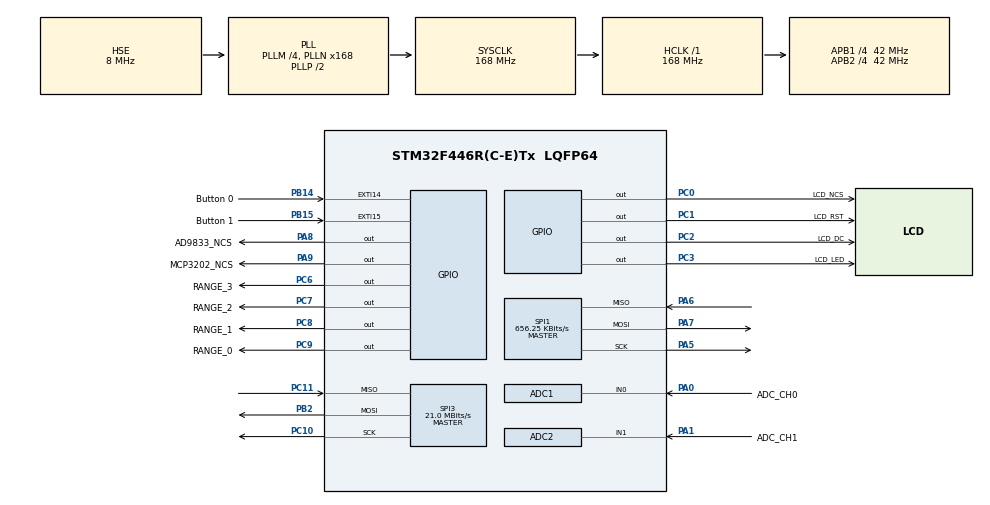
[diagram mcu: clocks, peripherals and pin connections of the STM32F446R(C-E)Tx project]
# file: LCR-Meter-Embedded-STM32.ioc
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ADC1.Channel-0\#ChannelRegularConversion=ADC_CHANNEL_0
ADC1.ContinuousConvMode=ENABLE
ADC1.DMAContinuousRequests=DISABLE
ADC1.EOCSelection=ADC_EOC_SEQ_CONV
ADC1.ExternalTrigConv=ADC_EXTERNALTRIGCONV_T3_TRGO
ADC1.NbrOfConversion=1
ADC1.NbrOfConversionFlag=1
ADC1.Rank-0\#ChannelRegularConversion=1
ADC1.Resolution=ADC_RESOLUTION_12B
ADC1.SamplingTime-0\#ChannelRegularConversion=ADC_SAMPLETIME_3CYCLES
ADC1.master=1
ADC2.Channel-0\#ChannelRegularConversion=ADC_CHANNEL_1
ADC2.ClockPrescaler=ADC_CLOCK_SYNC_PCLK_DIV2
ADC2.ContinuousConvMode=ENABLE
ADC2.DMAContinuousRequests=DISABLE
ADC2.EOCSelection=ADC_EOC_SEQ_CONV
ADC2.ExternalTrigConv=ADC_EXTERNALTRIGCONV_T3_TRGO
ADC2.NbrOfConversion=1
ADC2.NbrOfConversionFlag=1
ADC2.Rank-0\#ChannelRegularConversion=1
ADC2.Resolution=ADC_RESOLUTION_12B
ADC2.SamplingTime-0\#ChannelRegularConversion=ADC_SAMPLETIME_3CYCLES
Dma.ADC1.0.Direction=DMA_PERIPH_TO_MEMORY
Dma.ADC1.0.FIFOMode=DMA_FIFOMODE_DISABLE
Dma.ADC1.0.Instance=DMA2_Stream0
Dma.ADC1.0.MemDataAlignment=DMA_MDATAALIGN_HALFWORD
Dma.ADC1.0.MemInc=DMA_MINC_ENABLE
Dma.ADC1.0.Mode=DMA_NORMAL
Dma.ADC1.0.PeriphDataAlignment=DMA_PDATAALIGN_HALFWORD
Dma.ADC1.0.PeriphInc=DMA_PINC_DISABLE
Dma.ADC1.0.Priority=DMA_PRIORITY_VERY_HIGH
Dma.ADC2.1.Direction=DMA_PERIPH_TO_MEMORY
Dma.ADC2.1.FIFOMode=DMA_FIFOMODE_DISABLE
Dma.ADC2.1.Instance=DMA2_Stream2
Dma.ADC2.1.MemDataAlignment=DMA_MDATAALIGN_HALFWORD
Dma.ADC2.1.MemInc=DMA_MINC_ENABLE
Dma.ADC2.1.Mode=DMA_NORMAL
Dma.ADC2.1.PeriphDataAlignment=DMA_PDATAALIGN_HALFWORD
Dma.ADC2.1.PeriphInc=DMA_PINC_DISABLE
Dma.ADC2.1.Priority=DMA_PRIORITY_VERY_HIGH
Dma.Request0=ADC1
Dma.Request1=ADC2
Mcu.Family=STM32F4
Mcu.Name=STM32F446R(C-E)Tx
Mcu.Package=LQFP64
NVIC.ADC_IRQn=true\:15\:0\:true\:false\:true\:true\:true\:true
NVIC.DMA2_Stream0_IRQn=true\:0\:0\:false\:false\:true\:false\:true\:true
NVIC.DMA2_Stream2_IRQn=true\:0\:0\:false\:false\:true\:false\:true\:true
NVIC.EXTI15_10_IRQn=true\:0\:0\:false\:false\:true\:true\:true\:true
NVIC.PriorityGroup=NVIC_PRIORITYGROUP_4
NVIC.TIM3_IRQn=true\:0\:0\:false\:false\:true\:true\:true\:true
PA0-WKUP.GPIO_Label=ADC_CH0
PA0-WKUP.Signal=SharedAnalog_PA0
PA1.GPIO_Label=ADC_CH1
PA1.Signal=SharedAnalog_PA1
PA5.Mode=Full_Duplex_Master
PA5.Signal=SPI1_SCK
PA6.Mode=Full_Duplex_Master
PA6.Signal=SPI1_MISO
PA7.Mode=Full_Duplex_Master
PA7.Signal=SPI1_MOSI
PA8.GPIO_Label=AD9833_NCS
PA8.GPIO_ModeDefaultOutputPP=GPIO_MODE_OUTPUT_PP
PA8.GPIO_PuPd=GPIO_NOPULL
PA8.GPIO_Speed=GPIO_SPEED_FREQ_VERY_HIGH
PA8.PinState=GPIO_PIN_SET
PA8.Signal=GPIO_Output
PA9.GPIO_Label=MCP3202_NCS
PA9.GPIO_ModeDefaultOutputPP=GPIO_MODE_OUTPUT_PP
PA9.GPIO_PuPd=GPIO_NOPULL
PA9.GPIO_Speed=GPIO_SPEED_FREQ_VERY_HIGH
PA9.PinState=GPIO_PIN_SET
PA9.Signal=GPIO_Output
PB14.GPIO_Label=Button 0
PB14.GPIO_ModeDefaultEXTI=GPIO_MODE_IT_FALLING
PB14.Signal=GPXTI14
PB15.GPIO_Label=Button 1
PB15.GPIO_ModeDefaultEXTI=GPIO_MODE_IT_FALLING
PB15.Signal=GPXTI15
PB2.Mode=Full_Duplex_Master
PB2.Signal=SPI3_MOSI
PC0.GPIO_Label=LCD_NCS
PC0.GPIO_Speed=GPIO_SPEED_FREQ_VERY_HIGH
PC0.PinState=GPIO_PIN_SET
PC0.Signal=GPIO_Output
PC1.GPIO_Label=LCD_RST
PC1.GPIO_Speed=GPIO_SPEED_FREQ_VERY_HIGH
PC1.PinState=GPIO_PIN_SET
PC1.Signal=GPIO_Output
PC10.Mode=Full_Duplex_Master
PC10.Signal=SPI3_SCK
PC11.Mode=Full_Duplex_Master
PC11.Signal=SPI3_MISO
PC2.GPIO_Label=LCD_DC
PC2.GPIO_Speed=GPIO_SPEED_FREQ_VERY_HIGH
PC2.PinState=GPIO_PIN_SET
PC2.Signal=GPIO_Output
PC3.GPIO_Label=LCD_LED
PC3.PinState=GPIO_PIN_SET
PC3.Signal=GPIO_Output
PC6.GPIO_Label=RANGE_3
PC6.PinState=GPIO_PIN_RESET
PC6.Signal=GPIO_Output
PC7.GPIO_Label=RANGE_2
PC7.PinState=GPIO_PIN_SET
PC7.Signal=GPIO_Output
PC8.GPIO_Label=RANGE_1
PC8.PinState=GPIO_PIN_RESET
PC8.Signal=GPIO_Output
PC9.GPIO_Label=RANGE_0
PC9.PinState=GPIO_PIN_RESET
PC9.Signal=GPIO_Output
PH0-OSC_IN.Mode=HSE-External-Oscillator
PH0-OSC_IN.Signal=RCC_OSC_IN
PH1-OSC_OUT.Mode=HSE-External-Oscillator
PH1-OSC_OUT.Signal=RCC_OSC_OUT
ProjectManager.HeapSize=0x200
ProjectManager.StackSize=0x400
ProjectManager.TargetToolchain=STM32CubeIDE
RCC.AHBFreq_Value=168000000
RCC.APB1CLKDivider=RCC_HCLK_DIV4
RCC.APB1Freq_Value=42000000
RCC.APB1TimFreq_Value=84000000
RCC.APB2CLKDivider=RCC_HCLK_DIV4
RCC.APB2Freq_Value=42000000
RCC.APB2TimFreq_Value=84000000
RCC.CortexFreq_Value=168000000
RCC.HCLKFreq_Value=168000000
RCC.HSE_VALUE=8000000
RCC.PLLM=4
RCC.PLLN=168
RCC.PLLSourceVirtual=RCC_PLLSOURCE_HSE
RCC.SYSCLKFreq_VALUE=168000000
RCC.SYSCLKSource=RCC_SYSCLKSOURCE_PLLCLK
RCC.USBFreq_Value=168000000
RCC.VCOOutputFreq_Value=336000000
SH.SharedAnalog_PA0.0=GPIO_Analog
SH.SharedAnalog_PA0.1=ADC1_IN0,IN0
SH.SharedAnalog_PA1.0=GPIO_Analog
SH.SharedAnalog_PA1.1=ADC1_IN1
SH.SharedAnalog_PA1.2=ADC2_IN1,IN1
SPI1.BaudRatePrescaler=SPI_BAUDRATEPRESCALER_64
SPI1.CalculateBaudRate=656.25 KBits/s
SPI1.Direction=SPI_DIRECTION_2LINES
SPI1.Mode=SPI_MODE_MASTER
SPI1.VirtualType=VM_MASTER
SPI3.BaudRatePrescaler=SPI_BAUDRATEPRESCALER_2
SPI3.CalculateBaudRate=21.0 MBits/s
SPI3.Direction=SPI_DIRECTION_2LINES
SPI3.Mode=SPI_MODE_MASTER
SPI3.VirtualType=VM_MASTER
TIM2.AutoReloadPreload=TIM_AUTORELOAD_PRELOAD_ENABLE
TIM2.Prescaler=41
TIM3.Period=999
TIM3.Prescaler=0
TIM3.TIM_MasterOutputTrigger=TIM_TRGO_UPDATE
VP_TIM2_VS_ClockSourceINT.Mode=Internal
VP_TIM3_VS_ClockSourceINT.Mode=Internal
board=custom

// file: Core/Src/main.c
/* USER CODE BEGIN Header */
/**
  ******************************************************************************
  * @file           : main.c
  * @brief          : Main program body
  ******************************************************************************
  * @attention
  *
  * Copyright (c) 2024 STMicroelectronics.
  * All rights reserved.
  *
  * This software is licensed under terms that can be found in the LICENSE file
  * in the root directory of this software component.
  * If no LICENSE file comes with this software, it is provided AS-IS.
  *
  ******************************************************************************
  */
/* USER CODE END Header */
#include "main.h"

/* USER CODE BEGIN Includes */
#include "string.h"
#include <stdbool.h>
#include "AD9833_STM32.h"
#include "MCP3202_STM32.h"

#include "matrix_operations.h"

#include "ILI9341_STM32_Driver.h"
#include "ILI9341_GFX.h"

#include <math.h>
/* USER CODE END Includes */

ADC_HandleTypeDef hadc1;
ADC_HandleTypeDef hadc2;
DMA_HandleTypeDef hdma_adc1;
DMA_HandleTypeDef hdma_adc2;

SPI_HandleTypeDef hspi1;
SPI_HandleTypeDef hspi3;

TIM_HandleTypeDef htim2;
TIM_HandleTypeDef htim3;

void SystemClock_Config(void);
static void MX_GPIO_Init(void);
static void MX_DMA_Init(void);
static void MX_SPI1_Init(void);
static void MX_SPI3_Init(void);
static void MX_ADC1_Init(void);
static void MX_ADC2_Init(void);
static void MX_TIM2_Init(void);
static void MX_TIM3_Init(void);

/* USER CODE BEGIN 0 */

uint32_t frequency = 1000;
int FREQ_UPDATE_NEEDED = 1; // Flag to tell the system that it needs to update the test frequency.
// All the data must be floating point, as the nucleo board I'm using doesn't have enough memory for double.

#define MAX_POINTS 2000
uint16_t ch0_data[MAX_POINTS];
uint16_t ch1_data[MAX_POINTS];

bool CH0_DONE_SAMPLING = false;
bool CH1_DONE_SAMPLING = false;

float Get_Time_us(void) {
	float count = __HAL_TIM_GET_COUNTER(&htim2);
	float FRQ = 2e6;
	return count * 1e6 / FRQ; // Read timer
}

void wait_us(uint32_t w) {
  uint32_t s = Get_Time_us();
  while(Get_Time_us() - s < w);
}

void ADC_START() {
	HAL_TIM_Base_Stop(&htim3);// Make sure that the timer is stopped, so we don't start ADC conversions in the middle of processing

	HAL_ADC_Start_DMA(&hadc1, (uint32_t*)ch1_data, MAX_POINTS); // This is required for all ADC conversion types
	HAL_ADC_Start_DMA(&hadc2, (uint32_t*)ch0_data, MAX_POINTS);

	HAL_Delay(10); // Should be enough time for calibration?

	__HAL_TIM_SET_COUNTER(&htim2, 0);
	HAL_TIM_Base_Start(&htim3);

	CH0_DONE_SAMPLING = false;
	CH1_DONE_SAMPLING = false;
}

void convert_to_double(const uint16_t *input_array, double *output_array, size_t length) {
    const double scale_factor = 3.3 / 4095.0;
    for (int i = 0; i < length; i++) {
    	double o = input_array[i] * scale_factor;
        output_array[i] = o;
    }
}

int get_range() {
	// This function figures out what range is currently being used.
	// Returns the number corresponding to the range.
	// If there is a problem, it will return -1.
	int r0 = HAL_GPIO_ReadPin(GPIOC, RANGE_0_Pin); // 100 Ohms
	int r1 = HAL_GPIO_ReadPin(GPIOC, RANGE_1_Pin); // 1000 Ohms
	int r2 = HAL_GPIO_ReadPin(GPIOC, RANGE_2_Pin); // 10000 Ohms
	int r3 = HAL_GPIO_ReadPin(GPIOC, RANGE_3_Pin); // 100000 Ohms

	int n = (r0*1) + (r1*10) + (r2*100) + (r3*1000);
	if (n == 0) {
		return -1;
	}
	if (n == 1) {
		return 0;
	}
	if (n == 10) {
		return 1;
	}
	if (n == 100) {
		return 2;
	}
	if (n == 1000){
		return 3;
	}
	return -1;
}

int set_range(int range) {
	if (range < 0) {
		HAL_GPIO_WritePin(GPIOC, RANGE_0_Pin, 0); // 100 Ohms
		HAL_GPIO_WritePin(GPIOC, RANGE_1_Pin, 0); // 1000 Ohms
		HAL_GPIO_WritePin(GPIOC, RANGE_2_Pin, 0); // 10000 Ohms
		HAL_GPIO_WritePin(GPIOC, RANGE_3_Pin, 0); // 100000 Ohms

		return -1;
	}
	if (range > 3) {
		HAL_GPIO_WritePin(GPIOC, RANGE_0_Pin, 0); // 100 Ohms
		HAL_GPIO_WritePin(GPIOC, RANGE_1_Pin, 0); // 1000 Ohms
		HAL_GPIO_WritePin(GPIOC, RANGE_2_Pin, 0); // 10000 Ohms
		HAL_GPIO_WritePin(GPIOC, RANGE_3_Pin, 0); // 100000 Ohms

		return -1;
	}

	if (range == 0) {
		HAL_GPIO_WritePin(GPIOC, RANGE_1_Pin, 0); // 1000 Ohms
		HAL_GPIO_WritePin(GPIOC, RANGE_2_Pin, 0); // 10000 Ohms
		HAL_GPIO_WritePin(GPIOC, RANGE_3_Pin, 0); // 100000 Ohms

		HAL_GPIO_WritePin(GPIOC, RANGE_0_Pin, 1); // 100 Ohms
		HAL_Delay(100);
		return 1;
	} else if(range == 1) {
		HAL_GPIO_WritePin(GPIOC, RANGE_0_Pin, 0); // 100 Ohms
		HAL_GPIO_WritePin(GPIOC, RANGE_2_Pin, 0); // 10000 Ohms
		HAL_GPIO_WritePin(GPIOC, RANGE_3_Pin, 0); // 100000 Ohms

		HAL_GPIO_WritePin(GPIOC, RANGE_1_Pin, 1); // 1000 Ohms
		HAL_Delay(100);
		return 1;
	} else if (range == 2) {
		HAL_GPIO_WritePin(GPIOC, RANGE_0_Pin, 0); // 100 Ohms
		HAL_GPIO_WritePin(GPIOC, RANGE_1_Pin, 0); // 1000 Ohms
		HAL_GPIO_WritePin(GPIOC, RANGE_3_Pin, 0); // 100000 Ohms

		HAL_GPIO_WritePin(GPIOC, RANGE_2_Pin, 1); // 10000 Ohms
		HAL_Delay(100);
		return 1;
	} else {
		HAL_GPIO_WritePin(GPIOC, RANGE_0_Pin, 0); // 100 Ohms
		HAL_GPIO_WritePin(GPIOC, RANGE_1_Pin, 0); // 1000 Ohms
		HAL_GPIO_WritePin(GPIOC, RANGE_2_Pin, 0); // 10000 Ohms

		HAL_GPIO_WritePin(GPIOC, RANGE_3_Pin, 1); // 100000 Ohms
		HAL_Delay(100);
		return 1;
	}

}

double get_shunt_resistance() {

	int range = get_range();

	double shunt_resistance;
	if (range == 0) {
		shunt_resistance = 102.10;
	} else if (range == 1){
		shunt_resistance = 1002.8;
	} else if (range == 2){
		shunt_resistance = 10012;
	} else { // No fault handling for now. Should never be a fault :)
		shunt_resistance = 107250;
	}
	return shunt_resistance;
}

double get_amp_calibration() {
	// This needs to be done for each meter/setup
	double ACF0 = 19.959 / 20;
	double ACF1 = 19.887 / 20;
	double ACF2 = 19.826 / 20;
	double ACF3 = 15.856 / 20;

	int range = get_range();

	if (frequency == 1000) {
		if (range == 0) {
			return ACF0;
		} else if (range == 1) {
			return ACF1;
		} else if (range == 2) {
			return ACF2;
		} else if (range == 3) {
			return ACF3;
		} else {
			return 1;
		}
	} else {
		return 1;
	}
}

double get_phase_calibration() {
	// This needs to be done for each meter/setup
	double PCF0 = -0.0014542840503944804;
	double PCF1 = -0.003935525496759973;
	double PCF2 = -0.030454848010975977;
	double PCF3 = -0.034066954299771218;

	int range = get_range();
	if (frequency == 1000) {
		if (range == 0) {
			return PCF0;
		} else if (range == 1) {
			return PCF1;
		} else if (range == 2) {
			return PCF2;
		} else if (range == 3) {
			return PCF3;
		} else {
			return 0;
		}
	} else {
		return 0;
	}
}

int auto_range(float magnitude) {
	// This function changes the current range resistor.
	// The return value is 0 if the range is unchanged, or 1 if the range has successfully changed.
	int current_range = get_range();

	if (magnitude > 5.5 * (100 * pow(10,current_range))){
		if (current_range != 2) {
			set_range(current_range + 1);
			return 1;
		}
		return 0;
	}
	if (magnitude < 5.5 * (100 * pow(10,current_range - 1))) {
		if (current_range != 0) {
			set_range(current_range - 1);
			return 1;
		}
		return 0;
	}
	return 0;
}

void Show_Stats(double reactance, double resistance, double frequency){
//	ILI9341_Fill_Screen(BLACK);
	ILI9341_Set_Rotation(SCREEN_HORIZONTAL_2);

	double X = reactance;
	double R = resistance;

	// Make sure in project properties to add the linker flag -u _printf_float

    char buffer[50]; // Buffer to hold the formatted string
	if (X < 0){
		float capacitance = -1e9 / (2 * M_PI * frequency * X);
		ILI9341_Draw_Text("                        ", 10, 40, WHITE, 2, BLACK);
		snprintf(buffer, sizeof(buffer), "Cs: %.3f nF", capacitance);
		ILI9341_Draw_Text(buffer, 10, 40, WHITE, 2, BLACK);

        char impedance[50];
        snprintf(impedance, sizeof(impedance), "Z: %.2f - j %.2f", R, -X);

		ILI9341_Draw_Text("                        ", 10, 120, WHITE, 2, BLACK);
		ILI9341_Draw_Text(impedance, 10, 120, WHITE, 2, BLACK);

	} else {
        float inductance = X * 1e6 / (2 * M_PI * frequency);
		ILI9341_Draw_Text("                        ", 10, 40, WHITE, 2, BLACK);
        snprintf(buffer, sizeof(buffer), "Ls: %.3f uH", inductance);
        ILI9341_Draw_Text(buffer, 10, 40, WHITE, 2, BLACK);

        char impedance[50];
        snprintf(impedance, sizeof(impedance), "Z: %.3f + j %.3f", R, X);

		ILI9341_Draw_Text("                        ", 10, 120, WHITE, 2, BLACK);
		ILI9341_Draw_Text(impedance, 10, 120, WHITE, 2, BLACK);
	}

	ILI9341_Draw_Text("                        ", 10, 80, WHITE, 2, BLACK);
	snprintf(buffer, sizeof(buffer), "ESR: %.2f Ohms", R);
	ILI9341_Draw_Text(buffer, 10, 80, WHITE, 2, BLACK);

	ILI9341_Draw_Text("                        ", 10, 160, WHITE, 2, BLACK);
	snprintf(buffer, sizeof(buffer), "Freq: %.2f kHz", frequency / 1000);
	ILI9341_Draw_Text(buffer, 10, 160, WHITE, 2, BLACK);

	ILI9341_Draw_Text("                        ", 10, 200, WHITE, 2, BLACK);
	snprintf(buffer, sizeof(buffer), "Range: %i", get_range());
	ILI9341_Draw_Text(buffer, 10, 200, WHITE, 2, BLACK);
}

/* USER CODE END 0 */

int main(void)
{

  /* MCU Configuration--------------------------------------------------------*/

  /* Reset of all peripherals, Initializes the Flash interface and the Systick. */
  HAL_Init();

  /* Configure the system clock */
  SystemClock_Config();

  /* Initialize all configured peripherals */
  MX_GPIO_Init();
  MX_DMA_Init();
  MX_SPI1_Init();
  MX_SPI3_Init();
  MX_ADC1_Init();
  MX_ADC2_Init();
  MX_TIM2_Init();
  MX_TIM3_Init();
  /* USER CODE BEGIN 2 */

  memset(ch0_data, 0, MAX_POINTS);  // Set all bytes in the array to 0
  memset(ch1_data, 0, MAX_POINTS);  // Set all bytes in the array to 0

	__HAL_TIM_SET_COUNTER(&htim2, 0);
	HAL_TIM_Base_Start(&htim2);

	double load_amplitude = 0;
	double load_phase = 0;
	double load_offset = 0;

	double shunt_amplitude = 0;
	double shunt_phase = 0;
	double shunt_offset = 0;

	ILI9341_Init();

  /* USER CODE END 2 */

  /* Infinite loop */
  /* USER CODE BEGIN WHILE */
  while (1)
  {

	  if (FREQ_UPDATE_NEEDED > 0) {
		  AD9833_set_freq(frequency);
		  AD9833_set_freq(frequency);
		  // I have to do this twice because I'm using two SPI devices on this bus which
		  // use different modes. After an ADC reading, the clock idles low. This
		  // for some reason can't be changed by just reconfiguring the SPI bus (as I am doing in the
		  // AD9833 driver) but rather actually requires an spi transfer to initiate the correct
		  // Polarity clock for the start of the next transfer. This is required because the AD9833
		  // Requires the clock to idle HIGH before the CS/FSYNC pin goes low. I'm too lazy to figure
		  // out how to fix this easily. This works, so I'm keeping it.
		  FREQ_UPDATE_NEEDED = 0; // clear flag
		  HAL_Delay(1000); // allow for the frequency to stabilize before sampling
	  }

	  double sampleF = frequency; // samples and hold the frequency to ensure it won't change while in the middle of gathering smaples
	  double sampleRate = 1.4e6;
	  double avgMag = 0;
	  double avgPhase = 0;
	  double avgR = 0;
	  double avgX = 0;
	  int cycles = 5;

	  for (int i = 0; i < cycles; i++) {

		  ADC_START();
		  while(!CH0_DONE_SAMPLING || !CH1_DONE_SAMPLING); // Wait for samples to be  collected

		  uint32_t collected_points = MAX_POINTS; // Testing new method with all the available points

		  double DBL_BUF[collected_points];

		  convert_to_double(ch1_data, DBL_BUF, collected_points);
		  least_squares_sine(collected_points, sampleF, sampleRate, 0, DBL_BUF, &shunt_amplitude, &shunt_phase, &shunt_offset);

		  convert_to_double(ch0_data, DBL_BUF, collected_points);
		  least_squares_sine(collected_points, sampleF, sampleRate, 0, DBL_BUF, &load_amplitude, &load_phase, &load_offset);

		  double shunt_resistance = get_shunt_resistance();

		  double impedance_magnitude = (load_amplitude / (shunt_amplitude / shunt_resistance));
		  double impedance_angle = (load_phase - shunt_phase);
		  if (impedance_angle > M_PI) {
			  impedance_angle -= 2 * M_PI;
		  }
		  avgMag += impedance_magnitude;
		  avgPhase += impedance_angle;

		  __HAL_TIM_SET_COUNTER(&htim2, 0);

	  }
	  double ACF = get_amp_calibration(); // Calibration factor, range 2
	  double PCF = get_phase_calibration();
	  avgMag = (avgMag / cycles) * ACF;

	  // Frequency 1000
	  avgPhase = (avgPhase / cycles) + PCF; // Range 3

	  avgX = avgMag * sin(avgPhase);
	  avgR = avgMag * cos(avgPhase);

	  Show_Stats(avgX, avgR, sampleF);

	  auto_range(sqrt(avgX * avgX + avgR * avgR));

//	  set_range(3);

    /* USER CODE END WHILE */

  }
}

void SystemClock_Config(void)
{
  RCC_OscInitTypeDef RCC_OscInitStruct = {0};
  RCC_ClkInitTypeDef RCC_ClkInitStruct = {0};

  /** Configure the main internal regulator output voltage
  */
  __HAL_RCC_PWR_CLK_ENABLE();
  __HAL_PWR_VOLTAGESCALING_CONFIG(PWR_REGULATOR_VOLTAGE_SCALE1);

  /** Initializes the RCC Oscillators according to the specified parameters
  * in the RCC_OscInitTypeDef structure.
  */
  RCC_OscInitStruct.OscillatorType = RCC_OSCILLATORTYPE_HSE;
  RCC_OscInitStruct.HSEState = RCC_HSE_ON;
  RCC_OscInitStruct.PLL.PLLState = RCC_PLL_ON;
  RCC_OscInitStruct.PLL.PLLSource = RCC_PLLSOURCE_HSE;
  RCC_OscInitStruct.PLL.PLLM = 4;
  RCC_OscInitStruct.PLL.PLLN = 168;
  RCC_OscInitStruct.PLL.PLLP = RCC_PLLP_DIV2;
  RCC_OscInitStruct.PLL.PLLQ = 2;
  RCC_OscInitStruct.PLL.PLLR = 2;
  if (HAL_RCC_OscConfig(&RCC_OscInitStruct) != HAL_OK)
  {
    Error_Handler();
  }

  /** Initializes the CPU, AHB and APB buses clocks
  */
  RCC_ClkInitStruct.ClockType = RCC_CLOCKTYPE_HCLK|RCC_CLOCKTYPE_SYSCLK
                              |RCC_CLOCKTYPE_PCLK1|RCC_CLOCKTYPE_PCLK2;
  RCC_ClkInitStruct.SYSCLKSource = RCC_SYSCLKSOURCE_PLLCLK;
  RCC_ClkInitStruct.AHBCLKDivider = RCC_SYSCLK_DIV1;
  RCC_ClkInitStruct.APB1CLKDivider = RCC_HCLK_DIV4;
  RCC_ClkInitStruct.APB2CLKDivider = RCC_HCLK_DIV4;

  if (HAL_RCC_ClockConfig(&RCC_ClkInitStruct, FLASH_LATENCY_5) != HAL_OK)
  {
    Error_Handler();
  }
}

static void MX_ADC1_Init(void)
{

  ADC_ChannelConfTypeDef sConfig = {0};

  /** Configure the global features of the ADC (Clock, Resolution, Data Alignment and number of conversion)
  */
  hadc1.Instance = ADC1;
  hadc1.Init.ClockPrescaler = ADC_CLOCK_SYNC_PCLK_DIV2;
  hadc1.Init.Resolution = ADC_RESOLUTION_12B;
  hadc1.Init.ScanConvMode = DISABLE;
  hadc1.Init.ContinuousConvMode = ENABLE;
  hadc1.Init.DiscontinuousConvMode = DISABLE;
  hadc1.Init.ExternalTrigConvEdge = ADC_EXTERNALTRIGCONVEDGE_RISING;
  hadc1.Init.ExternalTrigConv = ADC_EXTERNALTRIGCONV_T3_TRGO;
  hadc1.Init.DataAlign = ADC_DATAALIGN_RIGHT;
  hadc1.Init.NbrOfConversion = 1;
  hadc1.Init.DMAContinuousRequests = DISABLE;
  hadc1.Init.EOCSelection = ADC_EOC_SEQ_CONV;
  if (HAL_ADC_Init(&hadc1) != HAL_OK)
  {
    Error_Handler();
  }

  /** Configure for the selected ADC regular channel its corresponding rank in the sequencer and its sample time.
  */
  sConfig.Channel = ADC_CHANNEL_0;
  sConfig.Rank = 1;
  sConfig.SamplingTime = ADC_SAMPLETIME_3CYCLES;
  if (HAL_ADC_ConfigChannel(&hadc1, &sConfig) != HAL_OK)
  {
    Error_Handler();
  }

}

static void MX_ADC2_Init(void)
{

  ADC_ChannelConfTypeDef sConfig = {0};

  /** Configure the global features of the ADC (Clock, Resolution, Data Alignment and number of conversion)
  */
  hadc2.Instance = ADC2;
  hadc2.Init.ClockPrescaler = ADC_CLOCK_SYNC_PCLK_DIV2;
  hadc2.Init.Resolution = ADC_RESOLUTION_12B;
  hadc2.Init.ScanConvMode = DISABLE;
  hadc2.Init.ContinuousConvMode = ENABLE;
  hadc2.Init.DiscontinuousConvMode = DISABLE;
  hadc2.Init.ExternalTrigConvEdge = ADC_EXTERNALTRIGCONVEDGE_RISING;
  hadc2.Init.ExternalTrigConv = ADC_EXTERNALTRIGCONV_T3_TRGO;
  hadc2.Init.DataAlign = ADC_DATAALIGN_RIGHT;
  hadc2.Init.NbrOfConversion = 1;
  hadc2.Init.DMAContinuousRequests = DISABLE;
  hadc2.Init.EOCSelection = ADC_EOC_SEQ_CONV;
  if (HAL_ADC_Init(&hadc2) != HAL_OK)
  {
    Error_Handler();
  }

  /** Configure for the selected ADC regular channel its corresponding rank in the sequencer and its sample time.
  */
  sConfig.Channel = ADC_CHANNEL_1;
  sConfig.Rank = 1;
  sConfig.SamplingTime = ADC_SAMPLETIME_3CYCLES;
  if (HAL_ADC_ConfigChannel(&hadc2, &sConfig) != HAL_OK)
  {
    Error_Handler();
  }

}

static void MX_SPI1_Init(void)
{

  /* SPI1 parameter configuration*/
  hspi1.Instance = SPI1;
  hspi1.Init.Mode = SPI_MODE_MASTER;
  hspi1.Init.Direction = SPI_DIRECTION_2LINES;
  hspi1.Init.DataSize = SPI_DATASIZE_8BIT;
  hspi1.Init.CLKPolarity = SPI_POLARITY_LOW;
  hspi1.Init.CLKPhase = SPI_PHASE_1EDGE;
  hspi1.Init.NSS = SPI_NSS_SOFT;
  hspi1.Init.BaudRatePrescaler = SPI_BAUDRATEPRESCALER_64;
  hspi1.Init.FirstBit = SPI_FIRSTBIT_MSB;
  hspi1.Init.TIMode = SPI_TIMODE_DISABLE;
  hspi1.Init.CRCCalculation = SPI_CRCCALCULATION_DISABLE;
  hspi1.Init.CRCPolynomial = 10;
  if (HAL_SPI_Init(&hspi1) != HAL_OK)
  {
    Error_Handler();
  }

}

static void MX_SPI3_Init(void)
{

  /* SPI3 parameter configuration*/
  hspi3.Instance = SPI3;
  hspi3.Init.Mode = SPI_MODE_MASTER;
  hspi3.Init.Direction = SPI_DIRECTION_2LINES;
  hspi3.Init.DataSize = SPI_DATASIZE_8BIT;
  hspi3.Init.CLKPolarity = SPI_POLARITY_LOW;
  hspi3.Init.CLKPhase = SPI_PHASE_1EDGE;
  hspi3.Init.NSS = SPI_NSS_SOFT;
  hspi3.Init.BaudRatePrescaler = SPI_BAUDRATEPRESCALER_2;
  hspi3.Init.FirstBit = SPI_FIRSTBIT_MSB;
  hspi3.Init.TIMode = SPI_TIMODE_DISABLE;
  hspi3.Init.CRCCalculation = SPI_CRCCALCULATION_DISABLE;
  hspi3.Init.CRCPolynomial = 10;
  if (HAL_SPI_Init(&hspi3) != HAL_OK)
  {
    Error_Handler();
  }

}

static void MX_TIM2_Init(void)
{

  TIM_ClockConfigTypeDef sClockSourceConfig = {0};
  TIM_MasterConfigTypeDef sMasterConfig = {0};

  htim2.Instance = TIM2;
  htim2.Init.Prescaler = 41;
  htim2.Init.CounterMode = TIM_COUNTERMODE_UP;
  htim2.Init.Period = 4294967295;
  htim2.Init.ClockDivision = TIM_CLOCKDIVISION_DIV1;
  htim2.Init.AutoReloadPreload = TIM_AUTORELOAD_PRELOAD_ENABLE;
  if (HAL_TIM_Base_Init(&htim2) != HAL_OK)
  {
    Error_Handler();
  }
  sClockSourceConfig.ClockSource = TIM_CLOCKSOURCE_INTERNAL;
  if (HAL_TIM_ConfigClockSource(&htim2, &sClockSourceConfig) != HAL_OK)
  {
    Error_Handler();
  }
  sMasterConfig.MasterOutputTrigger = TIM_TRGO_RESET;
  sMasterConfig.MasterSlaveMode = TIM_MASTERSLAVEMODE_DISABLE;
  if (HAL_TIMEx_MasterConfigSynchronization(&htim2, &sMasterConfig) != HAL_OK)
  {
    Error_Handler();
  }

}

static void MX_TIM3_Init(void)
{

  TIM_ClockConfigTypeDef sClockSourceConfig = {0};
  TIM_MasterConfigTypeDef sMasterConfig = {0};

  htim3.Instance = TIM3;
  htim3.Init.Prescaler = 0;
  htim3.Init.CounterMode = TIM_COUNTERMODE_UP;
  htim3.Init.Period = 999;
  htim3.Init.ClockDivision = TIM_CLOCKDIVISION_DIV1;
  htim3.Init.AutoReloadPreload = TIM_AUTORELOAD_PRELOAD_DISABLE;
  if (HAL_TIM_Base_Init(&htim3) != HAL_OK)
  {
    Error_Handler();
  }
  sClockSourceConfig.ClockSource = TIM_CLOCKSOURCE_INTERNAL;
  if (HAL_TIM_ConfigClockSource(&htim3, &sClockSourceConfig) != HAL_OK)
  {
    Error_Handler();
  }
  sMasterConfig.MasterOutputTrigger = TIM_TRGO_UPDATE;
  sMasterConfig.MasterSlaveMode = TIM_MASTERSLAVEMODE_DISABLE;
  if (HAL_TIMEx_MasterConfigSynchronization(&htim3, &sMasterConfig) != HAL_OK)
  {
    Error_Handler();
  }

}

static void MX_DMA_Init(void)
{

  /* DMA controller clock enable */
  __HAL_RCC_DMA2_CLK_ENABLE();

  /* DMA interrupt init */
  /* DMA2_Stream0_IRQn interrupt configuration */
  HAL_NVIC_SetPriority(DMA2_Stream0_IRQn, 0, 0);
  HAL_NVIC_EnableIRQ(DMA2_Stream0_IRQn);
  /* DMA2_Stream2_IRQn interrupt configuration */
  HAL_NVIC_SetPriority(DMA2_Stream2_IRQn, 0, 0);
  HAL_NVIC_EnableIRQ(DMA2_Stream2_IRQn);

}

static void MX_GPIO_Init(void)
{
  GPIO_InitTypeDef GPIO_InitStruct = {0};

  /* GPIO Ports Clock Enable */
  __HAL_RCC_GPIOH_CLK_ENABLE();
  __HAL_RCC_GPIOC_CLK_ENABLE();
  __HAL_RCC_GPIOA_CLK_ENABLE();
  __HAL_RCC_GPIOB_CLK_ENABLE();

  /*Configure GPIO pin Output Level */
  HAL_GPIO_WritePin(GPIOC, LCD_NCS_Pin|LCD_RST_Pin|LCD_DC_Pin|LCD_LED_Pin
                          |RANGE_2_Pin, GPIO_PIN_SET);

  /*Configure GPIO pin Output Level */
  HAL_GPIO_WritePin(GPIOC, RANGE_3_Pin|RANGE_1_Pin|RANGE_0_Pin, GPIO_PIN_RESET);

  /*Configure GPIO pin Output Level */
  HAL_GPIO_WritePin(GPIOA, AD9833_NCS_Pin|MCP3202_NCS_Pin, GPIO_PIN_SET);

  /*Configure GPIO pins : LCD_NCS_Pin LCD_RST_Pin LCD_DC_Pin */
  GPIO_InitStruct.Pin = LCD_NCS_Pin|LCD_RST_Pin|LCD_DC_Pin;
  GPIO_InitStruct.Mode = GPIO_MODE_OUTPUT_PP;
  GPIO_InitStruct.Pull = GPIO_NOPULL;
  GPIO_InitStruct.Speed = GPIO_SPEED_FREQ_VERY_HIGH;
  HAL_GPIO_Init(GPIOC, &GPIO_InitStruct);

  /*Configure GPIO pins : LCD_LED_Pin RANGE_3_Pin RANGE_2_Pin RANGE_1_Pin
                           RANGE_0_Pin */
  GPIO_InitStruct.Pin = LCD_LED_Pin|RANGE_3_Pin|RANGE_2_Pin|RANGE_1_Pin
                          |RANGE_0_Pin;
  GPIO_InitStruct.Mode = GPIO_MODE_OUTPUT_PP;
  GPIO_InitStruct.Pull = GPIO_NOPULL;
  GPIO_InitStruct.Speed = GPIO_SPEED_FREQ_LOW;
  HAL_GPIO_Init(GPIOC, &GPIO_InitStruct);

  /*Configure GPIO pins : Button_0_Pin Button_1_Pin */
  GPIO_InitStruct.Pin = Button_0_Pin|Button_1_Pin;
  GPIO_InitStruct.Mode = GPIO_MODE_IT_FALLING;
  GPIO_InitStruct.Pull = GPIO_NOPULL;
  HAL_GPIO_Init(GPIOB, &GPIO_InitStruct);

  /*Configure GPIO pins : AD9833_NCS_Pin MCP3202_NCS_Pin */
  GPIO_InitStruct.Pin = AD9833_NCS_Pin|MCP3202_NCS_Pin;
  GPIO_InitStruct.Mode = GPIO_MODE_OUTPUT_PP;
  GPIO_InitStruct.Pull = GPIO_NOPULL;
  GPIO_InitStruct.Speed = GPIO_SPEED_FREQ_VERY_HIGH;
  HAL_GPIO_Init(GPIOA, &GPIO_InitStruct);

  /* EXTI interrupt init*/
  HAL_NVIC_SetPriority(EXTI15_10_IRQn, 0, 0);
  HAL_NVIC_EnableIRQ(EXTI15_10_IRQn);

}

/* USER CODE BEGIN 4 */
void HAL_GPIO_EXTI_Callback(uint16_t GPIO_Pin){
//	frequency = frequency + 1000;
	frequency = frequency * 10;
	if (frequency > 100000) {
		frequency = 100;
	}
	FREQ_UPDATE_NEEDED = 1;
}

void HAL_ADC_ConvCpltCallback(ADC_HandleTypeDef *hadc) {
	// WE're done collecting samples
	if (hadc == &hadc1) {
		CH1_DONE_SAMPLING = true;
	}
	else if (hadc == &hadc2) {
		CH0_DONE_SAMPLING = true;
	}
}

void HAL_TIM_PeriodElapsedCallback(TIM_HandleTypeDef *htim)
{
	// Check which version of the timer triggered this callback and toggle LED
	if (htim == &htim3 )
	{
		HAL_TIM_Base_Stop(&htim3);// Make sure that the timer is stopped, so we don't start ADC conversions in the middle of processing
	}
}

/* USER CODE END 4 */

void Error_Handler(void)
{
  __disable_irq();
  while (1)
  {
  }
}
